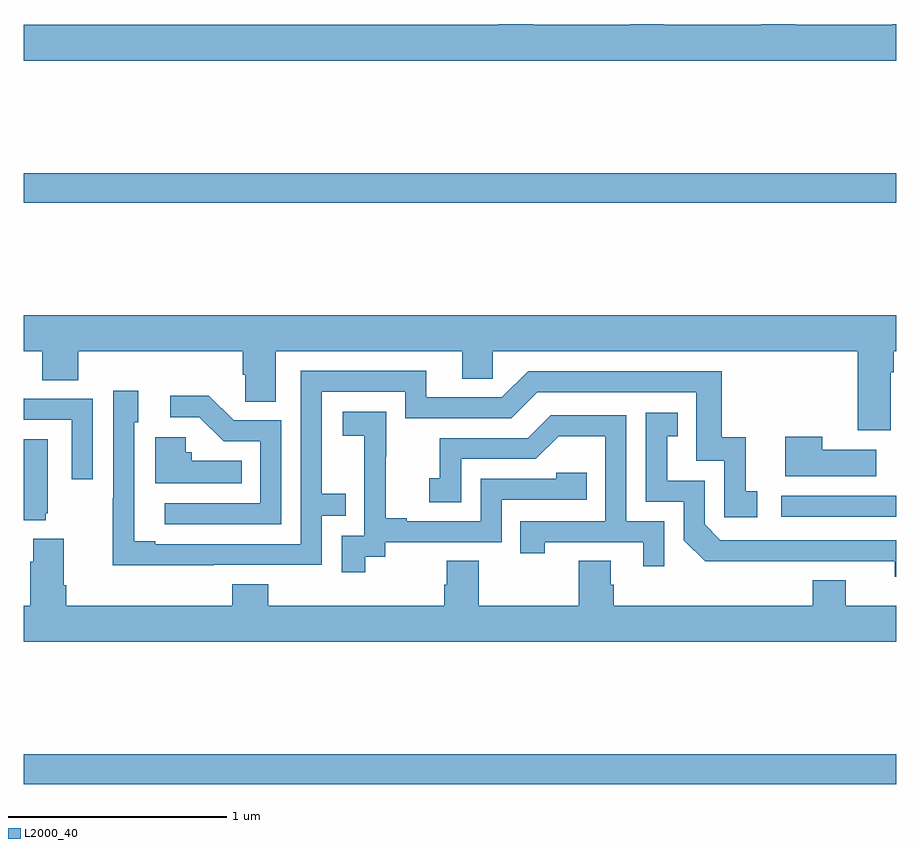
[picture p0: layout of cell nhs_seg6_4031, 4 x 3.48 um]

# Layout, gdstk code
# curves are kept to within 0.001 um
import gdstk
lib = gdstk.Library(unit=1e-6, precision=1e-09)
def R(c, l, rs):  # rectangles x0, y0, x1, y1
    for r in rs: c.add(gdstk.rectangle(r[:2], r[2:], *l))
def P(c, l, *ps):  # polygons
    for p in ps: c.add(gdstk.Polygon(p, *l))
L2000_40 = (2000, 40)

nhs_seg6_4031 = lib.new_cell('nhs_seg6_4031')
R(nhs_seg6_4031, L2000_40, [(349,948.016,353,948.152), (352.473,949.242,353,949.338), (349,950.68,353,950.816)])
P(nhs_seg6_4031, L2000_40, [(353,951.5),(352.981,951.5),(352.981,951.496),(352.536,951.496),(352.536,951.5),(352.381,951.5),(352.381,951.496),(351.936,951.496),(351.936,951.5),(351.781,951.5),(351.781,951.496),(351.336,951.496),(351.336,951.5),(351.176,951.5),(351.176,951.496),(349,951.496),(349,951.332),(353,951.332)],
  [(349,950),(349.085,950),(349.085,949.867),(349.25,949.867),(349.25,950),(350.003,950),(350.003,949.891),(350.016,949.891),(350.016,949.768),(350.155,949.768),(350.155,950),(351.011,950),(351.011,949.873),(351.15,949.873),(351.15,950),(352.823,950),(352.823,949.638),(352.975,949.638),(352.975,949.904),(352.988,949.904),(352.988,950),(353,950),(353,950.164),(349,950.164)],
  [(349.871,949.02),(350.367,949.02),(350.367,949.245),(350.477,949.245),(350.477,949.346),(350.367,949.346),(350.367,949.815),(350.748,949.815),(350.748,949.692),(351.234,949.692),(351.354,949.812),(352.083,949.812),(352.083,949.497),(352.212,949.497),(352.212,949.239),(352.363,949.239),(352.363,949.359),(352.31,949.359),(352.31,949.606),(352.199,949.606),(352.199,949.908),(351.312,949.908),(351.192,949.788),(350.845,949.788),(350.845,949.911),(350.271,949.911),(350.271,949.116),(349.603,949.116),(349.603,949.129),(349.507,949.129),(349.506,949.674),(349.525,949.674),(349.525,949.819),(349.41,949.819),(349.41,949.325),(349.408,949.325),(349.408,949.019)],
  [(350.181,949.683),(349.962,949.683),(349.849,949.796),(349.671,949.796),(349.671,949.698),(349.805,949.698),(349.916,949.587),(350.085,949.587),(350.085,949.302),(349.647,949.302),(349.647,949.206),(350.181,949.206)],
  [(349.317,949.782),(349.001,949.782),(349.001,949.784),(349,949.784),(349,949.686),(349.221,949.686),(349.221,949.413),(349.317,949.413)],
  [(350.566,949.057),(350.658,949.057),(350.658,949.125),(351.192,949.125),(351.192,949.32),(351.581,949.32),(351.581,949.443),(351.441,949.443),(351.441,949.416),(351.096,949.416),(351.096,949.221),(350.755,949.221),(350.755,949.234),(350.66,949.234),(350.66,949.517),(350.661,949.517),(350.661,949.723),(350.463,949.723),(350.463,949.613),(350.561,949.613),(350.561,949.385),(350.562,949.385),(350.562,949.155),(350.457,949.155),(350.457,948.987),(350.566,948.987)],
  [(353,949.134),(352.194,949.134),(352.122,949.206),(352.122,949.407),(351.949,949.407),(351.949,949.611),(351.998,949.611),(351.998,949.717),(351.852,949.717),(351.852,949.311),(352.026,949.311),(352.026,949.134),(352.124,949.037),(352.992,949.038),(352.992,948.965),(353,948.965)],
  [(351.936,949.221),(351.762,949.221),(351.762,949.707),(351.416,949.707),(351.311,949.602),(350.908,949.602),(350.908,949.417),(350.859,949.417),(350.859,949.308),(351.006,949.308),(351.006,949.506),(351.348,949.506),(351.452,949.61),(351.666,949.61),(351.666,949.221),(351.277,949.221),(351.277,949.074),(351.388,949.074),(351.388,949.125),(351.839,949.125),(351.839,949.014),(351.936,949.014)],
  [(352.909,949.549),(352.661,949.549),(352.661,949.609),(352.49,949.609),(352.49,949.427),(352.909,949.427)],
  [(350,949.498),(349.77,949.498),(349.77,949.536),(349.743,949.536),(349.743,949.606),(349.604,949.606),(349.604,949.394),(350,949.394)],
  [(349.1,949.257),(349.111,949.257),(349.111,949.597),(349,949.597),(349,949.226),(349.1,949.226)],
  [(353,948.832),(352.768,948.832),(352.768,948.949),(352.616,948.949),(352.616,948.832),(351.704,948.832),(351.704,948.93),(351.691,948.93),(351.691,949.04),(351.544,949.04),(351.544,948.832),(351.087,948.832),(351.087,949.04),(350.939,949.04),(350.939,948.93),(350.927,948.93),(350.927,948.832),(350.12,948.832),(350.12,948.931),(349.955,948.931),(349.955,948.832),(349.196,948.832),(349.196,948.928),(349.183,948.928),(349.183,949.141),(349.043,949.141),(349.043,949.034),(349.031,949.034),(349.031,948.832),(349,948.832),(349,948.668),(353,948.668)])

lib.write_gds('nhs_seg6_4031.gds')
